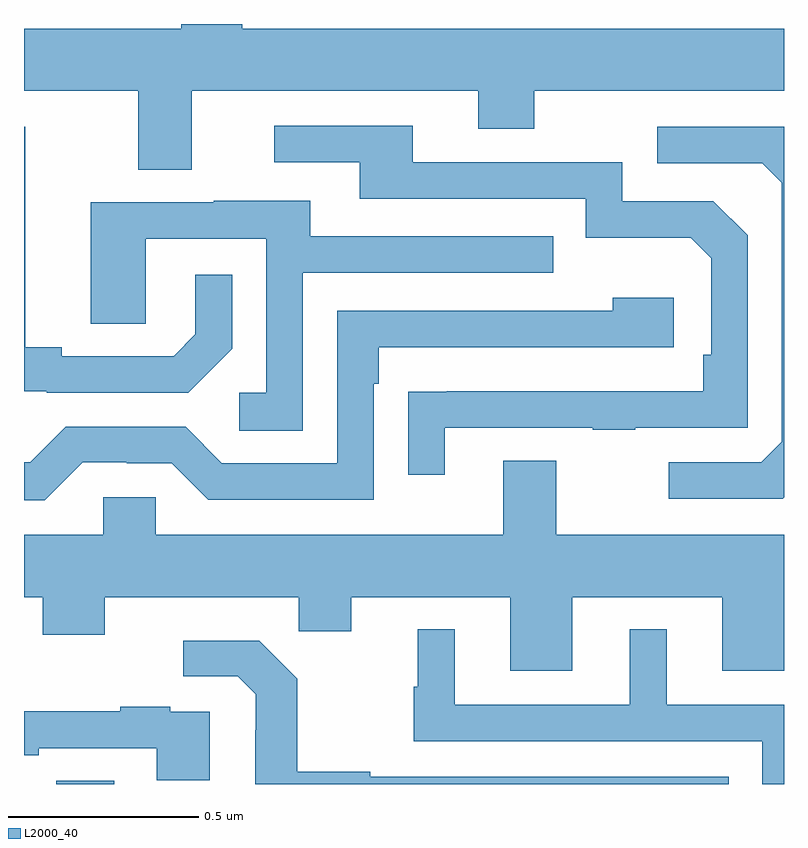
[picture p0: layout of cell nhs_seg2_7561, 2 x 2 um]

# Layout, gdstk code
import gdstk
lib = gdstk.Library(unit=1e-6, precision=1e-09)
def R(c, l, rs):  # rectangles x0, y0, x1, y1
    for r in rs: c.add(gdstk.rectangle(r[:2], r[2:], *l))
def P(c, l, *ps):  # polygons
    for p in ps: c.add(gdstk.Polygon(p, *l))
L2000_40 = (2000, 40)

nhs_seg2_7561 = lib.new_cell('nhs_seg2_7561')
R(nhs_seg2_7561, L2000_40, [(205.085,657.8,205.237,657.809)])
P(nhs_seg2_7561, L2000_40, [(205.441,659.624),(206.195,659.624),(206.195,659.525),(206.343,659.525),(206.343,659.624),(207,659.624),(207,659.788),(205.574,659.788),(205.574,659.8),(205.414,659.8),(205.414,659.788),(205,659.788),(205,659.624),(205.301,659.624),(205.301,659.416),(205.441,659.416)],
  [(206.107,658.737),(206.497,658.737),(206.497,658.732),(206.609,658.732),(206.609,658.737),(206.904,658.737),(206.904,659.244),(206.814,659.334),(206.574,659.334),(206.574,659.436),(206.023,659.436),(206.023,659.532),(205.659,659.532),(205.659,659.436),(205.883,659.436),(205.883,659.34),(206.478,659.34),(206.478,659.237),(206.755,659.237),(206.808,659.184),(206.808,658.93),(206.788,658.93),(206.788,658.833),(206.113,658.833),(206.113,658.832),(206.011,658.832),(206.011,658.614),(206.107,658.614)],
  [(205.548,658.946),(205.548,659.14),(205.451,659.14),(205.451,658.983),(205.394,658.926),(205.099,658.926),(205.099,658.949),(205.003,658.949),(205.003,659.529),(205,659.529),(205,658.833),(205.06,658.833),(205.06,658.83),(205.432,658.83)],
  [(207,658.554),(207,659.529),(206.667,659.529),(206.667,659.433),(206.943,659.433),(206.994,659.382),(206.994,658.701),(206.94,658.647),(206.697,658.647),(206.697,658.551),(206.997,658.551)],
  [(205.734,659.145),(206.393,659.145),(206.393,659.241),(205.753,659.241),(205.753,659.335),(205.499,659.335),(205.499,659.331),(205.175,659.331),(205.175,659.011),(205.32,659.011),(205.32,659.235),(205.638,659.235),(205.638,658.83),(205.566,658.83),(205.566,658.729),(205.734,658.729)],
  [(205.155,658.647),(205.271,658.647),(205.271,658.644),(205.389,658.644),(205.485,658.548),(205.92,658.548),(205.92,658.853),(205.933,658.853),(205.933,658.95),(206.71,658.95),(206.71,659.08),(206.549,659.08),(206.549,659.046),(205.824,659.046),(205.824,658.644),(205.521,658.644),(205.425,658.74),(205.11,658.74),(205.017,658.647),(205,658.647),(205,658.547),(205.055,658.547)],
  [(206.443,658.292),(206.837,658.292),(206.837,658.098),(207,658.098),(207,658.456),(206.401,658.456),(206.401,658.651),(206.261,658.651),(206.261,658.456),(205.347,658.456),(205.347,658.554),(205.209,658.554),(205.209,658.456),(205,658.456),(205,658.292),(205.049,658.292),(205.049,658.193),(205.213,658.193),(205.213,658.292),(205.723,658.292),(205.723,658.202),(205.861,658.202),(205.861,658.292),(206.279,658.292),(206.279,658.098),(206.443,658.098)],
  [(207,658.008),(206.692,658.008),(206.692,658.207),(206.594,658.207),(206.594,658.008),(206.134,658.008),(206.134,658.207),(206.036,658.207),(206.036,658.056),(206.025,658.056),(206.025,657.912),(206.943,657.912),(206.943,657.8),(207,657.8)],
  [(206.854,657.819),(205.911,657.819),(205.911,657.832),(205.719,657.832),(205.719,658.077),(205.619,658.177),(205.419,658.177),(205.419,658.083),(205.563,658.083),(205.61,658.036),(205.61,657.941),(205.608,657.941),(205.608,657.8),(206.854,657.8)],
  [(205.489,657.99),(205.385,657.99),(205.385,658.003),(205.253,658.003),(205.253,657.992),(205,657.992),(205,657.876),(205.039,657.876),(205.039,657.894),(205.349,657.894),(205.349,657.81),(205.489,657.81)])

lib.write_gds('nhs_seg2_7561.gds')
